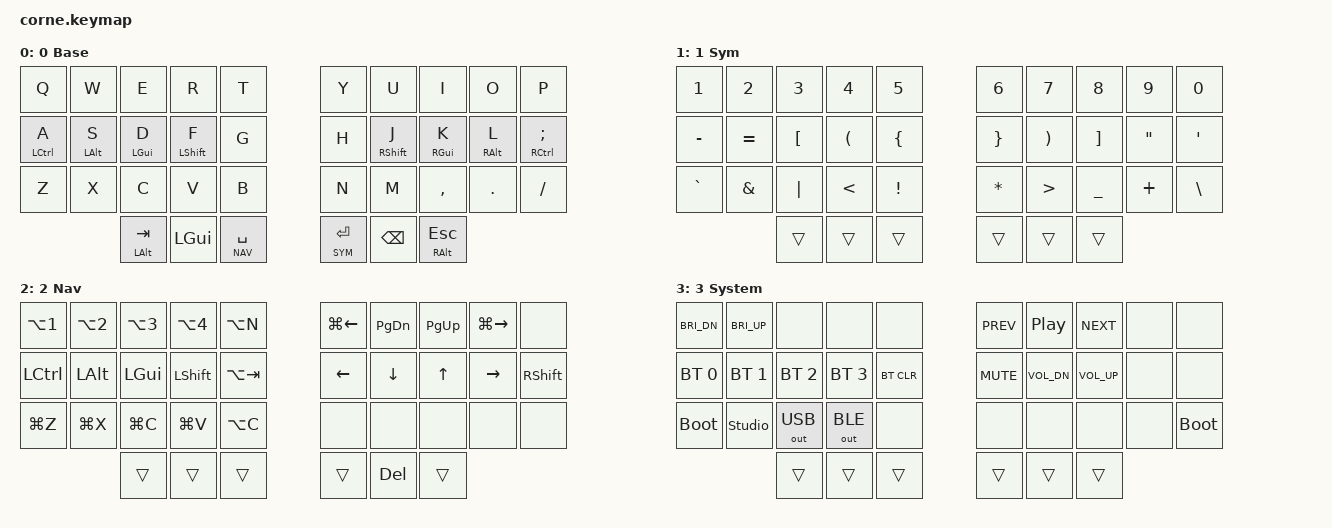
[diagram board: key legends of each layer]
#include <behaviors.dtsi>
#include <dt-bindings/zmk/bt.h>
#include <dt-bindings/zmk/keys.h>
#include <dt-bindings/zmk/outputs.h>


#define DEF 0
#define SYM 1
#define NAV 2
#define SYS 3

// Key positions of the 36-key Corne (5 columns + 3 thumbs per side)
#define KEYS_L 0 1 2 3 4 10 11 12 13 14 20 21 22 23 24
#define KEYS_R 5 6 7 8 9 15 16 17 18 19 25 26 27 28 29
#define THUMBS 30 31 32 33 34 35


/ {
    chosen {
        zmk,physical-layout = &foostan_corne_5col_layout;
    };

    behaviors {
        mod_left: mod_left {
            compatible = "zmk,behavior-hold-tap";
            #binding-cells = <2>;
            flavor = "balanced";
            tapping-term-ms = <280>;
            quick-tap-ms = <175>;
            require-prior-idle-ms = <150>;
            bindings = <&kp>, <&kp>;
            hold-trigger-key-positions = <KEYS_R THUMBS>;
            hold-trigger-on-release;
        };

        mod_right: mod_right {
            compatible = "zmk,behavior-hold-tap";
            #binding-cells = <2>;
            flavor = "balanced";
            tapping-term-ms = <280>;
            quick-tap-ms = <175>;
            require-prior-idle-ms = <150>;
            bindings = <&kp>, <&kp>;
            hold-trigger-key-positions = <KEYS_L THUMBS>;
            hold-trigger-on-release;
        };

        // No require-prior-idle-ms, so capitals work mid-sentence while typing fast
        shift_left: shift_left {
            compatible = "zmk,behavior-hold-tap";
            #binding-cells = <2>;
            flavor = "balanced";
            tapping-term-ms = <280>;
            quick-tap-ms = <175>;
            bindings = <&kp>, <&kp>;
            hold-trigger-key-positions = <KEYS_R THUMBS>;
            hold-trigger-on-release;
        };

        shift_right: shift_right {
            compatible = "zmk,behavior-hold-tap";
            #binding-cells = <2>;
            flavor = "balanced";
            tapping-term-ms = <280>;
            quick-tap-ms = <175>;
            bindings = <&kp>, <&kp>;
            hold-trigger-key-positions = <KEYS_L THUMBS>;
            hold-trigger-on-release;
        };

        thumb_mod: thumb_mod {
            compatible = "zmk,behavior-hold-tap";
            #binding-cells = <2>;
            flavor = "balanced";
            tapping-term-ms = <200>;
            quick-tap-ms = <175>;
            bindings = <&kp>, <&kp>;
        };

        // require-prior-idle-ms keeps spaces typed mid-sentence from turning into NAV
        nav_space: nav_space {
            compatible = "zmk,behavior-hold-tap";
            #binding-cells = <2>;
            flavor = "balanced";
            tapping-term-ms = <200>;
            quick-tap-ms = <175>;
            require-prior-idle-ms = <150>;
            bindings = <&mo>, <&kp>;
        };

        sym_enter: sym_enter {
            compatible = "zmk,behavior-hold-tap";
            #binding-cells = <2>;
            flavor = "balanced";
            tapping-term-ms = <200>;
            quick-tap-ms = <175>;
            bindings = <&mo>, <&kp>;
        };
    };

    conditional_layers {
        compatible = "zmk,conditional-layers";

        system {
            if-layers = <NAV SYM>;
            then-layer = <SYS>;
        };
    };


    keymap {
        compatible = "zmk,keymap";

        DEF {
            display-name = "0 Base";
            bindings = <
&kp Q              &kp W             &kp E              &kp R                &kp T            &kp Y          &kp U                 &kp I              &kp O              &kp P
&mod_left LCTRL A  &mod_left LALT S  &mod_left LGUI D   &shift_left LSHFT F  &kp G            &kp H          &shift_right RSHFT J  &mod_right RGUI K  &mod_right RALT L  &mod_right RCTRL SEMICOLON
&kp Z              &kp X             &kp C              &kp V                &kp B            &kp N          &kp M                 &kp COMMA          &kp DOT            &kp SLASH
                                     &thumb_mod LALT TAB  &kp LGUI           &nav_space NAV SPACE    &sym_enter SYM RET    &kp BSPC              &thumb_mod RALT ESC
            >;
        };

        SYM {
            display-name = "1 Sym";
            bindings = <
&kp N1     &kp N2         &kp N3     &kp N4         &kp N5      &kp N6     &kp N7            &kp N8          &kp N9    &kp N0
&kp MINUS  &kp EQUAL      &kp LBKT   &kp LPAR       &kp LBRC    &kp RBRC   &kp RPAR          &kp RBKT        &kp DQT   &kp SQT
&kp GRAVE  &kp AMPERSAND  &kp PIPE   &kp LESS_THAN  &kp EXCL    &kp STAR   &kp GREATER_THAN  &kp UNDERSCORE  &kp PLUS  &kp BSLH
                          &trans     &trans         &trans      &trans     &trans            &trans
            >;
        };

        // Inner left column and top-left row: rift workspace shortcuts (~/.config/rift/config.toml)
        NAV {
            display-name = "2 Nav";
            bindings = <
&kp LA(N1)  &kp LA(N2)  &kp LA(N3)  &kp LA(N4)  &kp LA(N)      &kp LG(LEFT)  &kp PG_DN  &kp PG_UP  &kp LG(RIGHT)  &none
&kp LCTRL   &kp LALT    &kp LGUI    &kp LSHFT   &kp LA(TAB)    &kp LEFT      &kp DOWN   &kp UP     &kp RIGHT      &kp RSHFT
&kp LG(Z)   &kp LG(X)   &kp LG(C)   &kp LG(V)   &kp LA(C)      &none         &none      &none      &none          &none
                        &trans      &trans      &trans         &trans        &kp DEL    &trans
            >;
        };

        SYS {
            display-name = "3 System";
            bindings = <
&kp C_BRI_DN  &kp C_BRI_UP    &none         &none         &none         &kp C_PREV  &kp C_PP      &kp C_NEXT    &none  &none
&bt BT_SEL 0  &bt BT_SEL 1    &bt BT_SEL 2  &bt BT_SEL 3  &bt BT_CLR    &kp C_MUTE  &kp C_VOL_DN  &kp C_VOL_UP  &none  &none
&bootloader   &studio_unlock  &out OUT_USB  &out OUT_BLE  &none         &none       &none         &none         &none  &bootloader
                              &trans        &trans        &trans        &trans      &trans        &trans
            >;
        };
    };
};
